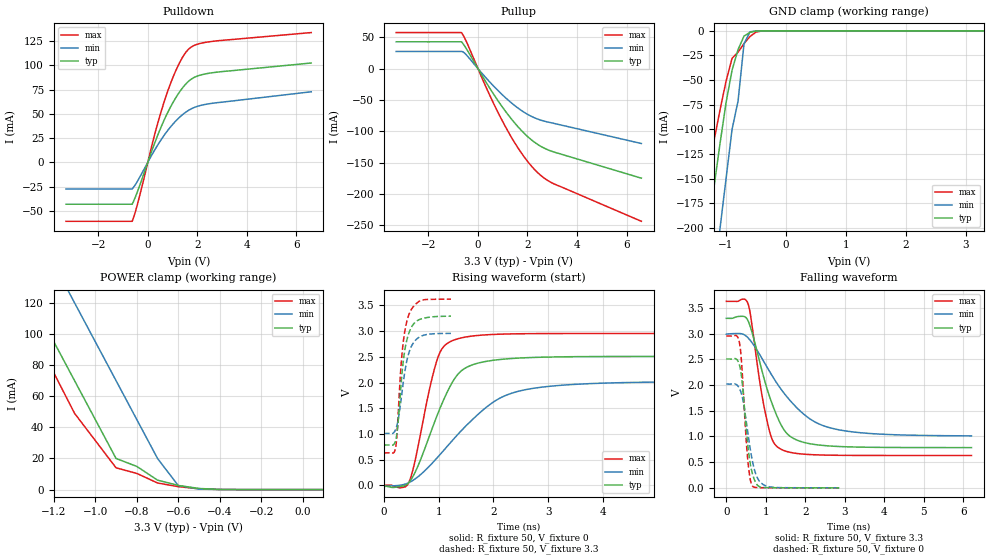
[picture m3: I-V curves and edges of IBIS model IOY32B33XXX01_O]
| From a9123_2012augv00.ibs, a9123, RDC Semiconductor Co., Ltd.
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[Model]   IOY32B33XXX01_O
|   IOY32B33XXX01_O  MODEL
|   DATE   :  2008/8/25 ;
|   REVISION :  0.1.1 ;
|   Model generated   Mon Aug 25 17:59:43 2008
Model_type  I/O
Polarity   Non-Inverting
Enable   Active-Low
| Signals
Vinl = 0.700
Vinh = 2.100
Vmeas = 1.65
| variable   typ   min   max
C_comp   1.855pf   1.758pf   1.986pf
[Model Spec]
|   Subparameter   typ   min   max
Vinh   2.100   2.100   2.100
Vinl   0.700   0.700   0.700
Vmeas   1.650   1.485   1.815
[Temperature Range]   25   125   -40
|   typ   min   max
[Voltage Range]   3.3V   2.97V   3.63V
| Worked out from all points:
|   slope of the pulldown table from 0 to 0.495 V, typ, clamps not added: 14.6 ohm
|   slope of the pullup table from 0 to 0.495 V, typ, clamps not added: 15.3 ohm
|   GND clamp passes 1 mA (typ) near -0.56 V on its own axis
|   POWER clamp passes 1 mA (typ) near -0.51 V on its own axis
|   rising waveform, R_fixture 50, V_fixture 0: 20-80 % time 582ps typ, 1.14ns min, 358ps max; typ from -0.006 V to 2.51 V
|   falling waveform, R_fixture 50, V_fixture 3.3: 20-80 % time 615ps typ, 1.16ns min, 379ps max; typ from 3.3 V to 0.784 V
|   rising waveform, R_fixture 50, V_fixture 3.3: 20-80 % time 147ps typ, 174ps min, 133ps max; typ from 0.784 V to 3.29 V
|   falling waveform, R_fixture 50, V_fixture 0: 20-80 % time 192ps typ, 252ps min, 145ps max; typ from 2.51 V to 0 V
[Pulldown]
|   Voltage   I(typ)   I(min)   I(max)
-3.3V     -43.24mA   -27.51mA   -60.86mA
-630mV    -43.24mA   -27.51mA   -60.86mA
-420mV    -30.43mA   -19.64mA   -43.51mA
280mV     20.02mA    12.74mA    28.88mA
700mV     45.82mA    29.25mA    65.52mA
910mV     56.69mA    36.23mA    80.73mA
1.19V     69.04mA    44.18mA    97.84mA
1.47V     78.85mA    50.48mA    111mA
1.68V     84.3mA     54.1mA     117.4mA
2.03V     89.19mA    57.91mA    122mA
2.59V     92.3mA     60.8mA     124.6mA
6.6V      102.4mA    72.74mA    133.8mA
[GND Clamp]
|   Voltage   I(typ)   I(min)   I(max)
-3.3V     -1.21A     -1.3A      -1.15A
-1.4V     -252mA     -350mA     -200mA
-1.3V     -204mA     -300mA     -150mA
-1.2V     -158mA     -250mA     -111mA
-1.1V     -114mA     -200mA     -80mA
-1V       -72.9mA    -150mA     -51.1mA
-900mV    -39.9mA    -100mA     -27.9mA
-800mV    -19.1mA    -71.3mA    -21.7mA
-700mV    -5.32mA    -13mA      -12.9mA
-600mV    -1.53mA    -1.01mA    -5.7mA
-400mV    -13.4uA    -4.88uA    -88.4uA
3.3V      0A         0A         0A
[Pullup]
|   Voltage   I(typ)   I(min)   I(max)
|( VDD-Vmeas )
-3.3V     42.72mA    27.31mA    57.43mA
-660mV    42.72mA    27.31mA    57.43mA
-480mV    32.61mA    22.34mA    44.14mA
480mV     -31.37mA   -21.46mA   -42.82mA
1.02V     -63.09mA   -43.06mA   -85.95mA
1.38V     -81.72mA   -55.62mA   -111.4mA
1.68V     -95.48mA   -64.73mA   -130.2mA
1.98V     -107.4mA   -72.4mA    -146.7mA
2.28V     -117.3mA   -78.41mA   -160.6mA
2.64V     -126.1mA   -83.41mA   -173.6mA
3.06V     -132.9mA   -87.31mA   -183.6mA
6.6V      -174.8mA   -119.5mA   -243.5mA
[POWER Clamp]
|   Voltage   I(typ)   I(min)   I(max)
|( VDD-Vmeas )
-3.3V     620mA      670mA      600mA
-1.4V     145mA      195mA      125mA
-1.3V     120mA      170mA      100mA
-1.2V     95mA       145mA      75mA
-1.1V     70mA       120mA      49mA
-900mV    20mA       70mA       14mA
-800mV    14.9mA     45mA       10.4mA
-700mV    6.09mA     20mA       4.26mA
-600mV    2.68mA     2.56mA     1.88mA
-500mV    731uA      316uA      511uA
-400mV    105uA      45.9uA     73.8uA
100mV     0A         0A         0A
[Rising Waveform]
R_fixture = 50
V_fixture = 0
V_fixture_min = 0
V_fixture_max = 0
C_fixture = 0
L_fixture = 0
|   Time   V(typ)   V(min)   V(max)
0s        -5.627mV   -24.2mV    1.933uV
297ps     -24.4mV    753uV      -50.61mV
462ps     61.82mV    54.73mV    70.96mV
957ps     1.319V     516.8mV    2.393V
1.089ns   1.659V     675.5mV    2.697V
1.254ns   2.012V     876.2mV    2.817V
1.65ns    2.357V     1.312V     2.909V
2.079ns   2.444V     1.672V     2.939V
2.574ns   2.482V     1.858V     2.95V
6.27ns    2.509V     2.017V     2.955V
[Falling Waveform]
R_fixture = 50
V_fixture = 3.3
V_fixture_min = 2.97
V_fixture_max = 3.63
C_fixture = 0
L_fixture = 0
|   Time   V(typ)   V(min)   V(max)
0s        3.3V       2.991V     3.63V
462ps     3.332V     2.977V     3.672V
561ps     3.234V     2.911V     3.559V
858ps     2.412V     2.577V     2.007V
1.023ns   1.947V     2.36V      1.329V
1.155ns   1.644V     2.188V     950.3mV
1.353ns   1.276V     1.954V     764.8mV
1.749ns   943.2mV    1.587V     673.6mV
2.673ns   812.4mV    1.159V     635.5mV
6.204ns   783.9mV    1.012V     630.1mV
[Rising Waveform]
R_fixture = 50
V_fixture = 3.3
V_fixture_min = 2.97
V_fixture_max = 3.63
C_fixture = 0
L_fixture = 0
|   Time   V(typ)   V(min)   V(max)
0s        783.8mV    1.009V     630.1mV
210ps     858.8mV    1.078V     713.4mV
231ps     964.4mV    1.142V     888mV
252ps     1.15V      1.235V     1.222V
301ps     1.805V     1.571V     2.16V
343ps     2.316V     1.919V     2.695V
399ps     2.733V     2.321V     3.099V
469ps     3V         2.619V     3.356V
700ps     3.245V     2.912V     3.605V
1.225ns   3.292V     2.956V     3.623V
[Falling Waveform]
R_fixture = 50
V_fixture = 0
V_fixture_min = 0
V_fixture_max = 0
C_fixture = 0
L_fixture = 0
|   Time   V(typ)   V(min)   V(max)
0s        2.509V     2.021V     2.955V
253ps     2.507V     2.011V     2.964V
330ps     2.397V     1.938V     2.832V
385ps     2.163V     1.824V     2.448V
539ps     865.1mV    1.103V     575.4mV
605ps     472.5mV    757.4mV    166.8mV
660ps     276.2mV    520.6mV    37.19mV
814ps     34.03mV    155.7mV    4.373mV
1.045ns   4.099mV    27.92mV    2.021mV
2.86ns    218.7uV    744.6uV    57.01uV
[Ramp]
| variables   typ   min   max
dV/dt_r   1.50522/580.55p 1.21242/1.13588n 1.77276/357.127p
dV/dt_f   1.50974/614.745p 1.17678/1.1559n 1.79995/378.699p
R_load   = 50.000000 | Ohms
| [End Model]
